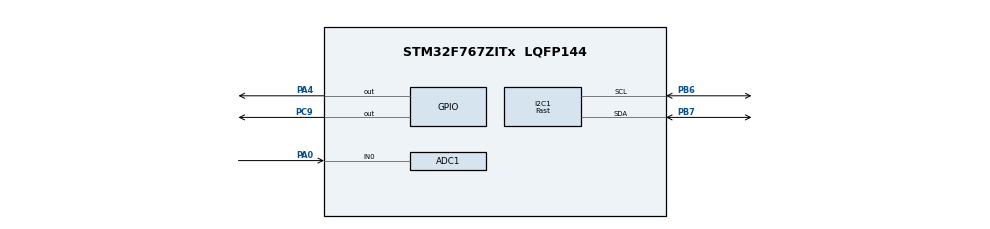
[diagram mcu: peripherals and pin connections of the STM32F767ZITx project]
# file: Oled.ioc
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ADC1.Channel-0\#ChannelRegularConversion=ADC_CHANNEL_0
ADC1.ContinuousConvMode=ENABLE
ADC1.NbrOfConversionFlag=1
ADC1.Rank-0\#ChannelRegularConversion=1
ADC1.SamplingTime-0\#ChannelRegularConversion=ADC_SAMPLETIME_3CYCLES
ADC1.master=1
I2C1.I2C_Speed_Mode=I2C_Fast
I2C1.Timing=0x0010061A
Mcu.Family=STM32F7
Mcu.Name=STM32F767ZITx
Mcu.Package=LQFP144
NVIC.PriorityGroup=NVIC_PRIORITYGROUP_4
PA0/WKUP.Signal=ADCx_IN0
PA13.Mode=Serial_Wire
PA13.Signal=SYS_JTMS-SWDIO
PA14.Mode=Serial_Wire
PA14.Signal=SYS_JTCK-SWCLK
PA4.Signal=GPIO_Output
PB6.Mode=I2C
PB6.Signal=I2C1_SCL
PB7.Mode=I2C
PB7.Signal=I2C1_SDA
PC9.Signal=GPIO_Output
PH0/OSC_IN.Mode=HSE-External-Oscillator
PH0/OSC_IN.Signal=RCC_OSC_IN
PH1/OSC_OUT.Mode=HSE-External-Oscillator
PH1/OSC_OUT.Signal=RCC_OSC_OUT
ProjectManager.HeapSize=0x200
ProjectManager.StackSize=0x400
ProjectManager.TargetToolchain=STM32CubeIDE
RCC.HSE_VALUE=25000000
RCC.HSI_VALUE=16000000
RCC.LSE_VALUE=32768
RCC.USBFreq_Value=96000000
RCC.VCOOutputFreq_Value=192000000
SH.ADCx_IN0.0=ADC1_IN0,IN0
board=custom

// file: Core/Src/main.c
#include "main.h"

/* USER CODE BEGIN Includes */
#include "stdio.h" //c kütüphanesi
#include "ssd1306.h" //ekranın kütüphanesi
#include "fonts.h" //fonts kütüphanesi

/* USER CODE END Includes */

ADC_HandleTypeDef hadc1;  // adc okuması için

I2C_HandleTypeDef hi2c1; //ekran için

/* USER CODE BEGIN PV */
unsigned int i=0;
/* USER CODE END PV */

void SystemClock_Config(void);
static void MX_GPIO_Init(void);
static void MX_I2C1_Init(void);
static void MX_ADC1_Init(void);

/* USER CODE BEGIN 0 */
uint32_t x=0;
uint16_t adc_value=0,deger=0,adc_value1=0,adc_value2=0; //değişkenler
char nem_Deger[200]; // değeri ekrana bastırmak için karakter dizisine int değer atma
uint16_t map(uint32_t A,uint32_t B,uint32_t C,uint32_t D,uint32_t E){ //değer küçültme

	return (A*E)/C;
}

void adc_read(){ //adc okuma fonksiyonu
	HAL_ADC_Start(&hadc1); //adc başladı
	HAL_ADC_PollForConversion(&hadc1, 100);
	adc_value=HAL_ADC_GetValue(&hadc1); //adc değeri okundu
    adc_value1=map(adc_value, 0, 4095, 0, 99); //12 bitlik adc değeri 0-99 arasına küçültüldü
    adc_value2=99-adc_value1;

}
/* USER CODE END 0 */

int main(void)
{

  /* MCU Configuration--------------------------------------------------------*/

  /* Reset of all peripherals, Initializes the Flash interface and the Systick. */
  HAL_Init();

  /* Configure the system clock */
  SystemClock_Config();

  /* Initialize all configured peripherals */
  MX_GPIO_Init();
  MX_I2C1_Init();
  MX_ADC1_Init();
  /* USER CODE BEGIN 2 */
SSD1306_Init(); //ekran başlatıldı

  /* USER CODE END 2 */

  /* Infinite loop */
  while (1)
  {

    /* USER CODE BEGIN 3 */

	  adc_read(); //adc başlatıldı

      sprintf (nem_Deger,"%d",adc_value2); //ekran için değer char tipine dönüştürüldü

	  SSD1306_GotoXY (0,0);
	  SSD1306_Puts ("Nem: %", &Font_11x18, 1); //"nem: " string ifadesi ekrana yazıldı
	  SSD1306_GotoXY (70, 0);
	  SSD1306_Puts (nem_Deger, &Font_11x18, 1); // nem value değeri ekrana yazıldı
	  SSD1306_UpdateScreen();

	  if(adc_value2<35){ //adc değeri 35 den küçükse koşula girildi
		 HAL_GPIO_WritePin(GPIOA, GPIO_PIN_4, SET); //röleye tetikleyen pin
		 SSD1306_GotoXY (0, 30);
		 SSD1306_Puts ("Motor Aktif", &Font_11x18, 1); //ekrana motor çalıştığını yazdı
		 SSD1306_UpdateScreen(); //ekranı güncelledi
	  }
	 if(adc_value2>=35){ //adc değeri 35 den büyükse ve eşitse koşula girdi
		 HAL_GPIO_WritePin(GPIOA, GPIO_PIN_4, RESET); //röle tetiğini kesti
		 SSD1306_GotoXY (0, 30);
		 SSD1306_Puts ("Motor Pasif", &Font_11x18, 1);//motor durduğunu ekrana yazdı
		 SSD1306_UpdateScreen(); //ekranı güncelledi
	 }

      HAL_Delay(200);//dengeli okuma için bekleme süresi

  }
  /* USER CODE END 3 */
}

void SystemClock_Config(void)
{
  RCC_OscInitTypeDef RCC_OscInitStruct = {0};
  RCC_ClkInitTypeDef RCC_ClkInitStruct = {0};

  /** Configure the main internal regulator output voltage
  */
  __HAL_RCC_PWR_CLK_ENABLE();
  __HAL_PWR_VOLTAGESCALING_CONFIG(PWR_REGULATOR_VOLTAGE_SCALE3);

  /** Initializes the RCC Oscillators according to the specified parameters
  * in the RCC_OscInitTypeDef structure.
  */
  RCC_OscInitStruct.OscillatorType = RCC_OSCILLATORTYPE_HSI;
  RCC_OscInitStruct.HSIState = RCC_HSI_ON;
  RCC_OscInitStruct.HSICalibrationValue = RCC_HSICALIBRATION_DEFAULT;
  RCC_OscInitStruct.PLL.PLLState = RCC_PLL_NONE;
  if (HAL_RCC_OscConfig(&RCC_OscInitStruct) != HAL_OK)
  {
    Error_Handler();
  }

  /** Initializes the CPU, AHB and APB buses clocks
  */
  RCC_ClkInitStruct.ClockType = RCC_CLOCKTYPE_HCLK|RCC_CLOCKTYPE_SYSCLK
                              |RCC_CLOCKTYPE_PCLK1|RCC_CLOCKTYPE_PCLK2;
  RCC_ClkInitStruct.SYSCLKSource = RCC_SYSCLKSOURCE_HSI;
  RCC_ClkInitStruct.AHBCLKDivider = RCC_SYSCLK_DIV1;
  RCC_ClkInitStruct.APB1CLKDivider = RCC_HCLK_DIV1;
  RCC_ClkInitStruct.APB2CLKDivider = RCC_HCLK_DIV1;

  if (HAL_RCC_ClockConfig(&RCC_ClkInitStruct, FLASH_LATENCY_0) != HAL_OK)
  {
    Error_Handler();
  }
}

static void MX_ADC1_Init(void)
{

  ADC_ChannelConfTypeDef sConfig = {0};

  /** Configure the global features of the ADC (Clock, Resolution, Data Alignment and number of conversion)
  */
  hadc1.Instance = ADC1;
  hadc1.Init.ClockPrescaler = ADC_CLOCK_SYNC_PCLK_DIV2;
  hadc1.Init.Resolution = ADC_RESOLUTION_12B;
  hadc1.Init.ScanConvMode = ADC_SCAN_DISABLE;
  hadc1.Init.ContinuousConvMode = ENABLE;
  hadc1.Init.DiscontinuousConvMode = DISABLE;
  hadc1.Init.ExternalTrigConvEdge = ADC_EXTERNALTRIGCONVEDGE_NONE;
  hadc1.Init.ExternalTrigConv = ADC_SOFTWARE_START;
  hadc1.Init.DataAlign = ADC_DATAALIGN_RIGHT;
  hadc1.Init.NbrOfConversion = 1;
  hadc1.Init.DMAContinuousRequests = DISABLE;
  hadc1.Init.EOCSelection = ADC_EOC_SINGLE_CONV;
  if (HAL_ADC_Init(&hadc1) != HAL_OK)
  {
    Error_Handler();
  }

  /** Configure for the selected ADC regular channel its corresponding rank in the sequencer and its sample time.
  */
  sConfig.Channel = ADC_CHANNEL_0;
  sConfig.Rank = ADC_REGULAR_RANK_1;
  sConfig.SamplingTime = ADC_SAMPLETIME_3CYCLES;
  if (HAL_ADC_ConfigChannel(&hadc1, &sConfig) != HAL_OK)
  {
    Error_Handler();
  }

}

static void MX_I2C1_Init(void)
{

  hi2c1.Instance = I2C1;
  hi2c1.Init.Timing = 0x0010061A;
  hi2c1.Init.OwnAddress1 = 0;
  hi2c1.Init.AddressingMode = I2C_ADDRESSINGMODE_7BIT;
  hi2c1.Init.DualAddressMode = I2C_DUALADDRESS_DISABLE;
  hi2c1.Init.OwnAddress2 = 0;
  hi2c1.Init.OwnAddress2Masks = I2C_OA2_NOMASK;
  hi2c1.Init.GeneralCallMode = I2C_GENERALCALL_DISABLE;
  hi2c1.Init.NoStretchMode = I2C_NOSTRETCH_DISABLE;
  if (HAL_I2C_Init(&hi2c1) != HAL_OK)
  {
    Error_Handler();
  }

  /** Configure Analogue filter
  */
  if (HAL_I2CEx_ConfigAnalogFilter(&hi2c1, I2C_ANALOGFILTER_ENABLE) != HAL_OK)
  {
    Error_Handler();
  }

  /** Configure Digital filter
  */
  if (HAL_I2CEx_ConfigDigitalFilter(&hi2c1, 0) != HAL_OK)
  {
    Error_Handler();
  }

}

static void MX_GPIO_Init(void)
{
  GPIO_InitTypeDef GPIO_InitStruct = {0};

  /* GPIO Ports Clock Enable */
  __HAL_RCC_GPIOH_CLK_ENABLE();
  __HAL_RCC_GPIOA_CLK_ENABLE();
  __HAL_RCC_GPIOC_CLK_ENABLE();
  __HAL_RCC_GPIOB_CLK_ENABLE();

  /*Configure GPIO pin Output Level */
  HAL_GPIO_WritePin(GPIOA, GPIO_PIN_4, GPIO_PIN_RESET);

  /*Configure GPIO pin Output Level */
  HAL_GPIO_WritePin(GPIOC, GPIO_PIN_9, GPIO_PIN_RESET);

  /*Configure GPIO pin : PA4 */
  GPIO_InitStruct.Pin = GPIO_PIN_4;
  GPIO_InitStruct.Mode = GPIO_MODE_OUTPUT_PP;
  GPIO_InitStruct.Pull = GPIO_NOPULL;
  GPIO_InitStruct.Speed = GPIO_SPEED_FREQ_LOW;
  HAL_GPIO_Init(GPIOA, &GPIO_InitStruct);

  /*Configure GPIO pin : PC9 */
  GPIO_InitStruct.Pin = GPIO_PIN_9;
  GPIO_InitStruct.Mode = GPIO_MODE_OUTPUT_PP;
  GPIO_InitStruct.Pull = GPIO_NOPULL;
  GPIO_InitStruct.Speed = GPIO_SPEED_FREQ_LOW;
  HAL_GPIO_Init(GPIOC, &GPIO_InitStruct);

}

void Error_Handler(void)
{
  __disable_irq();
  while (1)
  {
  }
}
